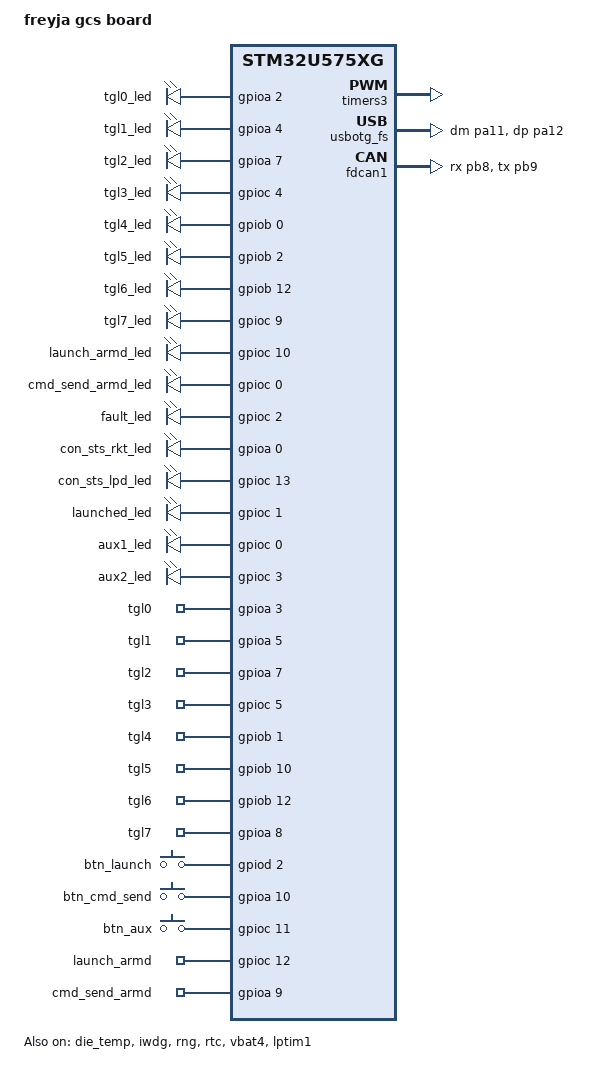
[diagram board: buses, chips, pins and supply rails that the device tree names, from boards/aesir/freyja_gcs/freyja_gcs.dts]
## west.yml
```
manifest:
  remotes:
    - name: zephyrproject
      url-base: https://github.com/zephyrproject-rtos
    - name: zephyr_macos_stm32prog
      url-base: https://github.com/PepperoniPingu/

  projects:
    - name: zephyr
      remote: zephyr_macos_stm32prog
      revision: v4.2.0-macos-stm32prog
      path: ext/zephyr
      west-commands: scripts/west-commands.yml

    - name: cmsis
      remote: zephyrproject
      revision: 512cc7e895e8491696b61f7ba8066b4a182569b8
      path: ext/zephyr/modules/hal/cmsis
    - name: cmsis_6
      remote: zephyrproject
      repo-path: CMSIS_6
      revision: 06d952b6713a2ca41c9224a62075e4059402a151
      path: ext/zephyr/modules/hal/cmsis_6

    - name: hal_stm32
      remote: zephyrproject
      revision: 1e753266ddfb4b07a8a0b1ec566e9637ea45d5ef
      path: ext/zephyr/modules/hal/stm32

  self:
    path: .
    
```

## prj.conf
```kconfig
CONFIG_SERIAL=y
CONFIG_CONSOLE=y
CONFIG_UART_CONSOLE=y
CONFIG_UART_LINE_CTRL=y

CONFIG_LOG=y
CONFIG_LOG_MODE_DEFERRED=y
CONFIG_LOG_PROCESS_TRIGGER_THRESHOLD=1
CONFIG_LOG_BUFFER_SIZE=4096

# Enable USB CDC console
CONFIG_USB_DEVICE_STACK=y
CONFIG_USB_DEVICE_PRODUCT="freyja gcs"
CONFIG_USB_DEVICE_VID=0x6969
CONFIG_USB_DEVICE_PID=0x6969
CONFIG_USB_CDC_ACM=y
CONFIG_USB_DEVICE_INITIALIZE_AT_BOOT=y
CONFIG_USB_CDC_ACM_LOG_LEVEL_DBG=y

CONFIG_CAN=y
CONFIG_CAN_FD_MODE=y

CONFIG_RTC=y
CONFIG_RTC_STM32=y
```

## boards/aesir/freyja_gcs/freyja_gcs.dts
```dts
/*
 * Copyright (c) 2021 Linaro Limited
 *
 * SPDX-License-Identifier: Apache-2.0
 */

/dts-v1/;
#include <st/u5/stm32u575Xg.dtsi>
#include <st/u5/stm32u575rgtx-pinctrl.dtsi>
#include <zephyr/dt-bindings/input/input-event-codes.h>

/ {
	model = "freyja gcs board";

	chosen {
		zephyr,sram = &sram0;
		zephyr,flash = &flash0;
		zephyr,canbus = &fdcan1;
        zephyr,console = &cdc_acm_uart1;
        zephyr,shell-uart = &cdc_acm_uart1;
	};

	leds: leds {
		compatible = "gpio-leds";

		tgl0_led: tgl0_led {
			gpios = <&gpioa 2 GPIO_ACTIVE_HIGH>;
		};
		tgl1_led: tgl1_led {
			gpios = <&gpioa 4 GPIO_ACTIVE_HIGH>;
		};
		tgl2_led: tgl2_led {
			gpios = <&gpioa 7 GPIO_ACTIVE_HIGH>;
		};
		tgl3_led: tgl3_led {
			gpios = <&gpioc 4 GPIO_ACTIVE_HIGH>;
		};
		tgl4_led: tgl4_led {
			gpios = <&gpiob 0 GPIO_ACTIVE_HIGH>;
		};
		tgl5_led: tgl5_led {
			gpios = <&gpiob 2 GPIO_ACTIVE_HIGH>;
		};
		tgl6_led: tgl6_led {
			gpios = <&gpiob 12 GPIO_ACTIVE_HIGH>;
		};
		tgl7_led: tgl7_led {
			gpios = <&gpioc 9 GPIO_ACTIVE_HIGH>;
		};

		launch_armd_led: launch_armd_led {
			gpios = <&gpioc 10 GPIO_ACTIVE_HIGH>;
		};
		cmd_send_armd_led: cmd_send_armd_led {
			gpios = <&gpioc 0 GPIO_ACTIVE_HIGH>;
		};
		fault_led: fault_led {
			gpios = <&gpioc 2 GPIO_ACTIVE_HIGH>;
		};
		con_sts_rkt_led: con_sts_rkt_led {
			gpios = <&gpioa 0 GPIO_ACTIVE_HIGH>;
		};
		con_sts_lpd_led: con_sts_lpd_led {
			gpios = <&gpioc 13 GPIO_ACTIVE_HIGH>;
		};
		launched_led: launched_led {
			gpios = <&gpioc 1 GPIO_ACTIVE_HIGH>;
		};
		aux1_led: aux1_led {
			gpios = <&gpioc 0 GPIO_ACTIVE_HIGH>;
		};
		aux2_led: aux2_led {
			gpios = <&gpioc 3 GPIO_ACTIVE_HIGH>;
		};
	};

	buttons: buttons {
		compatible = "gpio_keys";
		
		tgl0: tgl0 {
			gpios = <&gpioa 3 GPIO_ACTIVE_HIGH>;
		};
		tgl1: tgl1 {
			gpios = <&gpioa 5 GPIO_ACTIVE_HIGH>;
		};
		tgl2: tgl2 {
			gpios = <&gpioa 7 GPIO_ACTIVE_HIGH>;
		};
		tgl3: tgl3 {
			gpios = <&gpioc 5 GPIO_ACTIVE_HIGH>;
		};
		tgl4: tgl4 {
			gpios = <&gpiob 1 GPIO_ACTIVE_HIGH>;
		};
		tgl5: tgl5 {
			gpios = <&gpiob 10 GPIO_ACTIVE_HIGH>;
		};
		tgl6: tgl6 {
			gpios = <&gpiob 12 GPIO_ACTIVE_HIGH>;
		};
		tgl7: tgl7 {
			gpios = <&gpioa 8 GPIO_ACTIVE_HIGH>;
		};

		btn_launch: btn_launch {
			gpios = <&gpiod 2 GPIO_ACTIVE_HIGH>;
		};
		btn_cmd_send: btn_cmd_send {
			gpios = <&gpioa 10 GPIO_ACTIVE_HIGH>;
		};
		btn_aux: btn_aux {
			gpios = <&gpioc 11 GPIO_ACTIVE_HIGH>;
		};

		launch_armd: launch_armd {
			gpios = <&gpioc 12 GPIO_ACTIVE_HIGH>;
		};
		cmd_send_armd: cmd_send_armd {
			gpios = <&gpioa 9 GPIO_ACTIVE_HIGH>;
		};
	};
};

&die_temp {
	status = "okay";
};

&clk_hsi48 {
	status = "okay";
};

&clk_lse {
	status = "okay";
};

&clk_msis {
	status = "okay";
	msi-range = <4>;
	msi-pll-mode;
};

&pll1 {
	div-m = <1>;
	mul-n = <80>;
	div-q = <2>;
	div-r = <2>;
	clocks = <&clk_msis>;
	status = "okay";
};

&rcc {
	clocks = <&pll1>;
	clock-frequency = <DT_FREQ_M(160)>;
	ahb-prescaler = <1>;
	apb1-prescaler = <1>;
	apb2-prescaler = <1>;
	apb3-prescaler = <1>;
};

&timers3 {
	st,prescaler = <10000>;
	status = "okay";

	fan_pwm: pwm {
		pinctrl-0 = <&tim2_ch1_pa15>;
		pinctrl-names = "default";
		status = "okay";
	};
};

&iwdg {
	status = "okay";
};

&rng {
	status = "okay";
};

zephyr_udc0: &usbotg_fs {
	pinctrl-0 = <&usb_otg_fs_dm_pa11 &usb_otg_fs_dp_pa12>;
	pinctrl-names = "default";
	status = "okay";
};

&fdcan1 {
	clocks = <&rcc STM32_CLOCK_BUS_APB1_2 0x00000200>,
		 <&rcc STM32_SRC_PLL1_Q FDCAN1_SEL(1)>;
	pinctrl-0 = <&fdcan1_rx_pb8 &fdcan1_tx_pb9>;
	pinctrl-names = "default";
	status = "okay";
};

&rtc {
	clocks = <&rcc STM32_CLOCK(APB3, 21)>,
		 <&rcc STM32_SRC_LSE RTC_SEL(2)>;
	status = "okay";
};

&vbat4 {
	status = "okay";
};

stm32_lp_tick_source: &lptim1 {
	clocks = <&rcc STM32_CLOCK_BUS_APB3 0x00000800>,
		 <&rcc STM32_SRC_LSI LPTIM1_SEL(1)>;
	status = "okay";
};

&zephyr_udc0 {
    cdc_acm_uart0: cdc_acm_uart0 {
        compatible = "zephyr,cdc-acm-uart";
    };
	cdc_acm_uart1: cdc_acm_uart1 {
		compatible = "zephyr,cdc-acm-uart";
	};
};
```

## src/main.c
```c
#include <zephyr/kernel.h>
#include <zephyr/drivers/gpio.h>
#include <zephyr/drivers/uart.h>
#include <zephyr/logging/log.h>
#include <zephyr/random/random.h>

#include "can_com.h"
#include "clock.h"
#include "usb_com.h"
#include "protocol.h"
#include <stdint.h> 

LOG_MODULE_REGISTER(main);

const struct device *cdc_acm = DEVICE_DT_GET(DT_NODELABEL(cdc_acm_uart0));

static const struct gpio_dt_spec led = GPIO_DT_SPEC_GET(DT_NODELABEL(tgl0_led), gpios);

int int_randomizer(int min, int max) {
    if (max < min) { int t = min; min = max; max = t; }
    uint32_t span = (uint32_t)(max - min) + 1u;
    uint32_t r = sys_rand32_get();
    return min + (int)(r % span);
}

float float_randomizer(float min, float max) {
    uint32_t r = sys_rand32_get();
    float u = (float)r / (float)UINT32_MAX;
    return min + u * (max - min);
}

int main(void) {
	int ret;
	int64_t timestamp;

	if (init_usb() < 0) {
		LOG_ERR("could not init usb");
		return 0;
	}

	if (init_can() < 0) {
		LOG_ERR("could not init can");
		return 0;
	}

	if (init_clock() < 0) {
		LOG_ERR("could not init clock");
		return 0;
	}

	if (!gpio_is_ready_dt(&led)) {
		return 0;
	}

	ret = gpio_pin_configure_dt(&led, GPIO_OUTPUT_ACTIVE);
	if (ret < 0) {
		LOG_ERR("could not configure pin");
		return 0;
	}
	ret = gpio_pin_set_dt(&led, 1);
	if (ret < 0) {
		LOG_ERR("could not set pin");
		return 0;
	}

	LOG_INF("started");

	while (1) {
		const state_pkt_t state_pkt = {
			int_randomizer(0, 20),
			int_randomizer(0, 20),
			int_randomizer(0, 20),
			1,
			0
		};
		const fafnir_pkt_t fafnir_pkt = {
			float_randomizer(0.0f, 20.0f),
			1,
			0,
			1,
			1
		};
		const thrust_pkt_t thrust_pkt = {
			float_randomizer(0.0f, 20.0f)
		};
		const airbrake_pkt_t airbrake_pkt = {
			1,
			float_randomizer(0.0f, 20.0f)
		};
		const pyro_pkt_t pyro_pkt = {
			1,
			0,
			1
		};
		const acc_pkt_1_t acc_pkt_1 = {
			float_randomizer(0.0f, 20.0f), 
			float_randomizer(0.0f, 20.0f)
		};
		const acc_pkt_2_t acc_pkt_2 = {
			float_randomizer(0.0f, 20.0f)
		};
		const vel_pkt_1_t vel_pkt_1 = {
			float_randomizer(0.0f, 20.0f),
			float_randomizer(0.0f, 20.0f)
		};
		const vel_pkt_2_t vel_pkt_2 = {
			float_randomizer(0.0f, 20.0f)
		};
		const coords_pkt_t coords_pkt = {
			float_randomizer(0.0f, 20.0f),
			float_randomizer(0.0f, 20.0f)
		};
		const altitude_pkt_t altitude_pkt = {
			float_randomizer(0.0f, 20.0f)
		};
		const sigurd_temp_pkt_1_t sigurd_temp_pkt_1 = {
			float_randomizer(0.0f, 20.0f),
			float_randomizer(0.0f, 20.0f)
		};
		const sigurd_temp_pkt_2_t sigurd_temp_pkt_2 = {
			float_randomizer(0.0f, 20.0f),
			float_randomizer(0.0f, 20.0f)
		};
		const bat_pkt_t bat_pkt = {
			float_randomizer(0.0f, 30.0f),
			float_randomizer(0.0f, 30.0f)
		};

		submit_can_pkt(&state_pkt, PKT_TYPE_STATE);
		submit_can_pkt(&fafnir_pkt, PKT_TYPE_FAFNIR);
		submit_can_pkt(&thrust_pkt, PKT_TYPE_THRUST);
		submit_can_pkt(&airbrake_pkt, PKT_TYPE_AIRBRAKE);
		submit_can_pkt(&pyro_pkt, PKT_TYPE_PYRO);
		submit_can_pkt(&acc_pkt_1, PKT_TYPE_ACC_1);
		submit_can_pkt(&acc_pkt_2, PKT_TYPE_ACC_2);
		submit_can_pkt(&vel_pkt_1, PKT_TYPE_VEL_1);
		submit_can_pkt(&vel_pkt_2, PKT_TYPE_VEL_2);
		submit_can_pkt(&coords_pkt, PKT_TYPE_COORDS);
		submit_can_pkt(&altitude_pkt, PKT_TYPE_ALTITUDE);
		submit_can_pkt(&sigurd_temp_pkt_1, PKT_TYPE_SIGURD_TEMP_1);
		submit_can_pkt(&sigurd_temp_pkt_2, PKT_TYPE_SIGURD_TEMP_2);
		submit_can_pkt(&bat_pkt, PKT_TYPE_BAT);

		k_msleep(1000);
	}
	return 0;
}
```

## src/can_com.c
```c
#include <zephyr/drivers/can.h>
#include <zephyr/kernel.h>
#include <zephyr/logging/log.h>
#include <zephyr/sys/util.h>
#include <errno.h>

#include "clock.h"
#include "protocol.h"
#include "usb_com.h"

LOG_MODULE_REGISTER(can_com);

K_MSGQ_DEFINE(can_tx_queue,
              sizeof(struct can_frame),
              8,            /* queue length (frames) */
              1);            /* alignment */
K_SEM_DEFINE(can_tx_done, 1, 1);

const struct device *const can_dev = DEVICE_DT_GET(DT_NODELABEL(fdcan1));

const struct can_filter filter = {
    .flags = 0,
    .id = 0x700,
    .mask = 0b11110000000 // match from 0x700 to 0x77F
};

void can_rx_cb(const struct device *const device, struct can_frame *frame, void *user_data) {
    LOG_DBG("rx: %#X", frame->id);

    int pkt_type = frame->id - 0x700;

    if (frame->dlc != pkt_size[pkt_type]) {
        LOG_ERR("received packet %#x has length %d but should be length %d", pkt_type, frame->dlc, pkt_size[pkt_type]);
    }

    int64_t timestamp;
    int ret = get_timestamp(&timestamp);
    if (ret) {
        LOG_ERR("could not get timestamp for can packet");
        timestamp = -1;
    }
    submit_usb_pkt(frame->data, pkt_type, timestamp);
}

void can_tx_cb(const struct device *device, int error, void *user_data) {
    k_sem_give(&can_tx_done);
    if (error) {
        LOG_ERR("can send callback error %d", error);
    }
}

int submit_can_pkt(const void *packet, unsigned int type) {
    const int length = pkt_size[type];
    struct can_frame frame = {
            .flags = 0,
            .id = type + 0x700,
            .dlc = length,
    };
    memcpy(frame.data, packet, length);
    int ret = k_msgq_put(&can_tx_queue, &frame, K_NO_WAIT);
    if (ret == -EAGAIN) {
        LOG_ERR("can tx queue full");
    }
    return 0;
}

void can_thread_fn(void) {
    int ret;
    struct can_frame frame;

    while (1) {
        ret = k_msgq_get(&can_tx_queue, &frame, K_FOREVER);
        if (ret == -ENOMSG) { // queue purged during wait
            continue; 
        }

        // wait until previous frame is sent
        k_sem_take(&can_tx_done, K_MSEC(200));

        LOG_INF("sending can message 0x%02X", frame.id);

        // send frame (blocking until mailbox is available)
        ret = can_send(can_dev, &frame,
                           K_MSEC(100),
                            can_tx_cb,
                           NULL);

        if (ret) { // callback not called
            LOG_ERR("can send error %d", ret);
            k_sem_give(&can_tx_done);
        }
    }
}

K_THREAD_DEFINE(can_thread,
                1024,
                can_thread_fn,
                NULL, NULL, NULL,
                1, // priority
                0,
                -1); // do not start

int init_can(void) {
    int ret;
 
    if (!device_is_ready(can_dev)) {
        LOG_ERR("CAN device not ready");
        return -1;
    }
   
    ret = can_add_rx_filter(can_dev, can_rx_cb, NULL, &filter);
    if (ret) {
        LOG_ERR("adding can filter failed: %d", ret);
    } else {
        LOG_INF("adding can filter success");
    }

    ret = can_set_bitrate(can_dev, 500000); // 500 kb/s
    if (ret) {
        LOG_ERR("failed to set CAN nominal bitrate: [%d]", ret);
        return -1;
    } else {
        LOG_INF("CAN nominal bitrate successfully set to 500kb/s");
    }

    ret = can_set_bitrate_data(can_dev, 500000); // 500 kb/s
    if (ret) {
        LOG_ERR("failed to set CAN bitrate: [%d]", ret);
        return -1;
    } else {
        LOG_INF("CAN bitrate successfully set to 500kb/s");
    }

    ret = can_start(can_dev);
    if (ret) {
        LOG_ERR("failed to start CAN: %d", ret);
        return -1;
    } else{
        LOG_INF("CAN started");
    }

    k_thread_start(can_thread);

    return 0;
}
```

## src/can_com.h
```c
#pragma once

int init_can(void);

void submit_can_pkt(const void *packet, unsigned int type);
```

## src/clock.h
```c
#pragma once

int get_timestamp(int64_t *timestamp);

int init_rtc(void);
```

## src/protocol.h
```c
#pragma once

#include <stdint.h>

typedef enum {
    STATE_IDLE,
    STATE_AWAITING_INIT,
    STATE_INITIATED,
    STATE_AWAITING_LAUNCH,
    STATE_BOOST,
    STATE_COAST,
    STATE_DROGUE_DESCENT,
    STATE_MAIN_DESCENT,
    STATE_LANDED,
} fjalar_flight_state_t;

typedef enum {
    STATE_LOKI_STARTUP = 1,
    STATE_LOKI_READY,
    STATE_LOKI_ARMED,
    STATE_LOKI_ERROR_TEMP,
    STATE_LOKI_ERROR_PERM,
    STATE_LOKI_WARN_EXT,
} loki_state_t;

typedef enum {
    SUB_STATE_IDLE,
    SUB_STATE_ENGAGE,
    SUB_STATE_DISENGAGE,
} loki_substate_t;

typedef struct state_pkt {
    uint8_t fjalar_flight_state;
    uint8_t loki_state;
    uint8_t loki_substate;
    bool drogue_deployed;
    bool gnss_fixed;
} state_pkt_t;

typedef struct fafnir_pkt {
    float main_valve_percantage;
    bool solenoid_1;
    bool solenoid_2;
    bool solenoid_3;
    bool solenoid_4;
} fafnir_pkt_t;

typedef struct thrust_pkt {
    float thrust;
} thrust_pkt_t;

typedef struct airbrake_pkt {
    bool airbrake_safety;
    float airbrake_percantage;
} airbrake_pkt_t;

typedef struct pyro_pkt {
    bool pyro1_connected;
    bool pyro2_connected;
    bool pyro3_connected;
} pyro_pkt_t;

typedef struct acc_pkt_1 {
    float ax;
    float ay;
} acc_pkt_1_t;

typedef struct acc_pkt_2 {
    float az;
} acc_pkt_2_t;

typedef struct vel_pkt_1 {
    float vx;
    float vy;
} vel_pkt_1_t;

typedef struct vel_pkt_2 {
    float vz;
} vel_pkt_2_t;

typedef struct coords_pkt {
    float longitude;
    float latitude;
} coords_pkt_t;

typedef struct altitude_pkt {
    float altitude;
} altitude_pkt_t;

typedef struct sigurd_temp_pkt_1 {
    float temp_1;
    float temp_2;
} sigurd_temp_pkt_1_t;

typedef struct sigurd_temp_pkt_2 {
    float temp_3;
    float temp_4;
} sigurd_temp_pkt_2_t;

typedef struct bat_pkt {
    float fjalar_bat_volts;
    float loki_bat_volts;
} bat_pkt_t;

typedef enum {
    // How does the HEX ids work in relation to the new CAN pkts I need to submit?
    PKT_TYPE_STATE = 0x20,
    PKT_TYPE_FAFNIR,
    PKT_TYPE_THRUST,
    PKT_TYPE_AIRBRAKE,
    PKT_TYPE_PYRO,
    PKT_TYPE_ACC_1,
    PKT_TYPE_ACC_2,
    PKT_TYPE_VEL_1,
    PKT_TYPE_VEL_2,
    PKT_TYPE_COORDS,
    PKT_TYPE_ALTITUDE,
    PKT_TYPE_SIGURD_TEMP_1,
    PKT_TYPE_SIGURD_TEMP_2,
    PKT_TYPE_BAT,
    PKT_COUNT,
} pkt_type_t;

static const size_t pkt_size[PKT_COUNT] = {
    [PKT_TYPE_STATE] = sizeof(state_pkt_t),
    [PKT_TYPE_FAFNIR] = sizeof(fafnir_pkt_t),
    [PKT_TYPE_THRUST] = sizeof(thrust_pkt_t),
    [PKT_TYPE_AIRBRAKE] = sizeof(airbrake_pkt_t),
    [PKT_TYPE_PYRO] = sizeof(pyro_pkt_t),
    [PKT_TYPE_ACC_1] = sizeof(acc_pkt_1_t),
    [PKT_TYPE_ACC_2] = sizeof(acc_pkt_2_t),
    [PKT_TYPE_VEL_1] = sizeof(vel_pkt_1_t),
    [PKT_TYPE_VEL_2] = sizeof(vel_pkt_2_t),
    [PKT_TYPE_COORDS] = sizeof(coords_pkt_t),
    [PKT_TYPE_ALTITUDE] = sizeof(altitude_pkt_t),
    [PKT_TYPE_SIGURD_TEMP_1] = sizeof(sigurd_temp_pkt_1_t),
    [PKT_TYPE_SIGURD_TEMP_2] = sizeof(sigurd_temp_pkt_2_t),
    [PKT_TYPE_BAT] = sizeof(bat_pkt_t),
};
```

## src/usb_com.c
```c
#include <zephyr/drivers/uart.h>
#include <zephyr/logging/log.h>
#include <zephyr/sys/util.h>
#include "protocol.h"

LOG_MODULE_REGISTER(cdc_com);

#define TX_BUF_LEN 12 // 2 header bytes, 8 timstamp bytes, 1 byte packet type, 1 length, CAN packet max length of 8 
#define PKT_HEADER (uint8_t[]){0xAA, 0xAA}

static const struct device *const usb_uart = DEVICE_DT_GET(DT_NODELABEL(cdc_acm_uart0));

void submit_usb_pkt(const void *packet, unsigned int type, int64_t timestamp) {
    const int length = pkt_size[type];
    uint8_t tx_buf[TX_BUF_LEN];
    tx_buf[0] = PKT_HEADER[0];
    tx_buf[1] = PKT_HEADER[1];
    memcpy(tx_buf + 2, &timestamp, 8);
    tx_buf[10] = type;
    tx_buf[11] = length;
    memcpy(tx_buf + 12, packet, length);
    for (const char *p = (const char *)tx_buf; p < (const char *)tx_buf + 12 + length; ++p) {
        uart_poll_out(usb_uart, *p);
    }
}

int init_usb(void) {
    if (!device_is_ready(usb_uart)) {
        return -1;
    }

    return 0;
}
```

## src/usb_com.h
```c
#pragma once

void submit_usb_pkt(const void *packet, unsigned int type, int64_t timestamp);

int init_usb(void);
```
